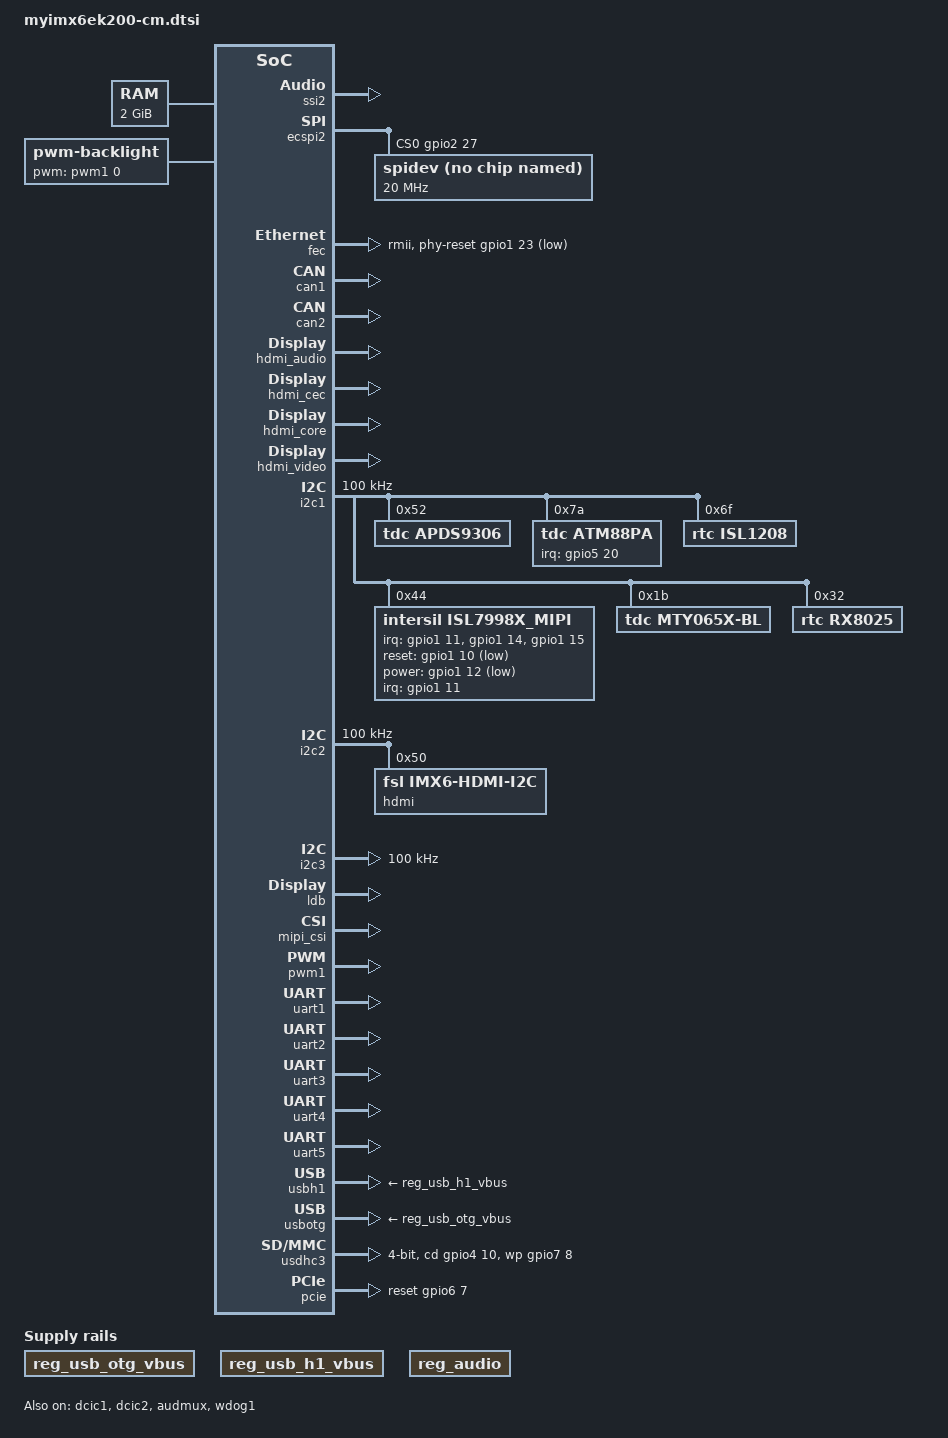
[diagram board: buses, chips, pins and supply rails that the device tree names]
/*
 * MYZR Technology Co.,Ltd
 * http://www.myzr.com.cn
 * Tang Bin <tangb@myzr.com.cn>
 */

#include "myimx6cb200.dtsi"
#include "myimx6ek200-iomux.dtsi"

/ {
	aliases {
		mxcfb0 = &mxcfb1;
		mxcfb1 = &mxcfb2;
		mxcfb2 = &mxcfb3;
		mxcfb3 = &mxcfb4;
	};

	memory: memory {
		reg = <0x10000000 0x80000000>;
	};
	
	regulators {
		compatible = "simple-bus";
		#address-cells = <1>;
		#size-cells = <0>;

		reg_usb_otg_vbus: regulator@0 {
			compatible = "regulator-fixed";
			reg = <0>;
			regulator-name = "usb_otg_vbus";
			enable-active-high;
		};

		reg_usb_h1_vbus: regulator@1 {
			compatible = "regulator-fixed";
			reg = <1>;
			regulator-name = "usb_h1_vbus";
			enable-active-high;
		};

		reg_audio: regulator@2 {
			compatible = "regulator-fixed";
			reg = <2>;
			regulator-name = "wm8962-supply";
			enable-active-high;
		};
	};
	
	sound-hdmi {
		compatible = "fsl,imx6q-audio-hdmi",
			     "fsl,imx-audio-hdmi";
		model = "imx-audio-hdmi";
		hdmi-controller = <&hdmi_audio>;
	};

	mxcfb1: fb@0 {
		compatible = "fsl,mxc_sdc_fb";
		disp_dev = "ldb";
		interface_pix_fmt = "RGB666";
		default_bpp = <16>;
		int_clk = <0>;
		late_init = <0>;
		status = "disabled";
	};

	mxcfb2: fb@1 {
		compatible = "fsl,mxc_sdc_fb";
		disp_dev = "hdmi";
		interface_pix_fmt = "RGB24";
		mode_str ="1920x1080M@60";
		default_bpp = <24>;
		int_clk = <0>;
		late_init = <0>;
		status = "disabled";
	};

	mxcfb3: fb@2 {
		compatible = "fsl,mxc_sdc_fb";
		disp_dev = "lcd";
		interface_pix_fmt = "RGB565";
		mode_str ="CLAA-WVGA";
		default_bpp = <16>;
		int_clk = <0>;
		late_init = <0>;
		status = "disabled";
	};

	mxcfb4: fb@3 {
		compatible = "fsl,mxc_sdc_fb";
		disp_dev = "ldb";
		interface_pix_fmt = "RGB666";
		default_bpp = <16>;
		int_clk = <0>;
		late_init = <0>;
		status = "disabled";
	};

	lcd@0 {
		compatible = "fsl,lcd";
		ipu_id = <0>;
		disp_id = <0>;
		default_ifmt = "RGB24";
		pinctrl-names = "default";
		pinctrl-0 = <&pinctrl_lcd_disp>;
		status = "okay";
	};

	backlight {
		compatible = "pwm-backlight";
		pwms = <&pwm1 0 5000000>;
		brightness-levels = <0 36 72 108 144 180 216 255>;
		default-brightness-level = <7>;
		status = "okay";
	};

	v4l2_cap_0 {
		compatible = "fsl,imx6q-v4l2-capture";
		ipu_id = <0>;
		csi_id = <0>;
		mclk_source = <0>;
		status = "okay";
	};

	v4l2_cap_1 {
		compatible = "fsl,imx6q-v4l2-capture";
		ipu_id = <0>;
		csi_id = <1>;
		mclk_source = <0>;
		status = "okay";
	};

	v4l2_cap_2 {
		compatible = "fsl,imx6q-v4l2-capture";
		ipu_id = <1>;
		csi_id = <0>;
		mclk_source = <0>;
		status = "okay";
	};

	v4l2_cap_3 {
		compatible = "fsl,imx6q-v4l2-capture";
		ipu_id = <1>;
		csi_id = <1>;
		mclk_source = <0>;
		status = "okay";
	};

	v4l2_out {
		compatible = "fsl,mxc_v4l2_output";
		status = "okay";
	};
};

&clks {
	fsl,ldb-di0-parent = <&clks 4>; /* IMX6QDL_CLK_PLL2_PFD0_352M */
	fsl,ldb-di1-parent = <&clks 4>; /* IMX6QDL_CLK_PLL2_PFD0_352M */
};

&iomuxc {
	pinctrl-names = "default";
	pinctrl-0 = <&pinctrl_eim0_pad &pinctrl_sd1_pad &pinctrl_sd3_pad &pinctrl_gpio_pad &pinctrl_nandf_mipi_csi &pinctrl_nandf_pcie>;
};

&dcic1 {
	dcic_id = <0>;
	dcic_mux = "dcic-hdmi";
	status = "okay";
};

&dcic2 {
	dcic_id = <1>;
	dcic_mux = "dcic-lvds0";
	status = "okay";
};

&gpc {
	fsl,ldo-bypass = <1>;
	fsl,wdog-reset = <1>;
};

&audmux {
	pinctrl-names = "default";
	pinctrl-0 = <&pinctrl_csi_aud3 &pinctrl_eim0_hp_det>;
	status = "okay";
};

&ssi2 {
	fsl,mode = "i2s-slave";
	status = "okay";
};

&ecspi2 {
	fsl,spi-num-chipselects = <1>;
	cs-gpios = <&gpio2 27 0>;
	pinctrl-names = "default";
	pinctrl-0 = <&pinctrl_eim1_spi2>;
	status = "okay";

	spidev@0 {
		compatible = "spidev";
		spi-max-frequency = <20000000>;
		reg = <0>;
	};
};

&fec {
	pinctrl-names = "default";
	pinctrl-0 = <&pinctrl_enet_enet &pinctrl_gpio_enet>;
	phy-mode = "rmii";
	phy-reset-gpios = <&gpio1 23 0>;
	fsl,magic-packet;
	status = "okay";
};

&can1 {
	pinctrl-names = "default";
	pinctrl-0 = <&pinctrl_gpio_can1>;
	status = "okay"; 
};

&can2 {
	pinctrl-names = "default";
	pinctrl-0 = <&pinctrl_gpio_can2>;
	status = "okay";
};

&hdmi_audio {
	status = "okay";
};

&hdmi_cec {
	pinctrl-names = "default";
	pinctrl-0 = <&pinctrl_gpio_hdmi>;
	status = "okay";
};

&hdmi_core {
	ipu_id = <0>;
	disp_id = <0>;
	status = "okay";
};

&hdmi_video {
	fsl,phy_reg_vlev = <0x0294>;
	fsl,phy_reg_cksymtx = <0x800d>;
	status = "okay";
};

&i2c1 {
	clock-frequency = <100000>;
	pinctrl-names = "default";
	pinctrl-0 = <&pinctrl_csi_i2c1>;
	status = "okay";

	apds9306@52 {
		compatible = "tdc,apds9306";
		reg = <0x52>;
	};

	atm88pa@7a {
		compatible = "tdc,atm88pa";
		reg = <0x7a>;
		interrupt-parent = <&gpio5>;
		interrupts = <20 0>;
		linux,wakeup;
		status = "okay";

		keypad {
			debounce_time = <1>;
			repeat = <1>;
			/* KEY_ENTER, KEY_ESC, KEY_UP, KEY_DOWN, KEY_F4, KEY_F5, KEY_F6, KEY_POWER */
			keymap = /bits/ 16 <28 1 103 108 62 63 64 116>;
		};

		leds {
			keypad-bl@0 {
				id = <0>;
				label = "keypad-bl";
				brightness = <0>;
				max-brightness = <100>;
			};
			camera-sl@1 {
				id = <1>;
				label = "camera-sl";
				brightness = <0>;
				max-brightness = <100>;
			};
			fault@2 {
				id = <2>;
				label = "fault";
				brightness = <0>;
				max-brightness = <1>;
			};
		};

		power {
			/* poweroff GPIO1_IO13, ACTIVE_LOW */
			gpios = <&gpio1 13 1>;
		};
	};

	isl1208@6f {
		compatible = "rtc,isl1208";
		reg = <0x6f>;
	};

	isl7998x_mipi@44 {
		compatible = "intersil,isl7998x_mipi";
		reg = <0x44>;
		pinctrl-names = "default";
		pinctrl-0 = <&pinctrl_gpio_isl7998x>;
		clocks = <&clks 201>;
		clock-names = "csi_mclk";
		csi_id = <0>;
		mclk = <27000000>;
		mclk_source = <0>;
		interrupt-parent = <&gpio1>;
		interrupts = <11 0>;
		/* GPIO Interrupts: INT, MPP1, MPP2 */
		irq-gpios = <&gpio1 11 0>, <&gpio1 14 0>, <&gpio1 15 0>;
		reset-gpios = <&gpio1 10 1>;
		power-gpios = <&gpio1 12 1>;
	};

	mty065x-bl@1b {
		compatible = "tdc,mty065x-bl";
		reg = <0x1b>;
		pingctrl-names = "default";
		/* Driver properties */
		display-size = /bits/ 16 <854 480 1280 720>;
		input-format = /bits/ 8 <0x41>;
		input-select = /bits/ 8 <0x00>;
		image-crop = /bits/ 16 <0 0 1280 720>;
	};

	rx8025@32 {
		compatible = "rtc,rx8025";
		reg = <0x32>;
		/* Default date time: 2016-8-1 0:0:0 */
		def-rtc-time = <0 0 0 1 7 116 1 0 0>;
	};
};

&i2c2 {
	clock-frequency = <100000>;
	pinctrl-names = "default";
	pinctrl-0 = <&pinctrl_gpio_i2c2>;
	status = "okay";

	hdmi: edid@50 {
		compatible = "fsl,imx6-hdmi-i2c";
		reg = <0x50>;
	};
};

&i2c3 {
	clock-frequency = <100000>;
	pinctrl-names = "default";
	pinctrl-0 = <&pinctrl_gpio_i2c3>;
	status = "okay";
};

&ldb {
	status = "okay";

	lvds-channel@0 {
		fsl,data-mapping = "spwg";
		fsl,data-width = <18>;
		primary;
		status = "okay";

		display-timings {
			native-mode = <&timing0>;
			timing0: hsd100pxn1 {
				clock-frequency = <64022400>;
				hactive = <1280>;
				vactive = <720>;
				hback-porch = <80>;
				hfront-porch = <48>;
				vback-porch = <13>;
				vfront-porch = <3>;
				hsync-len = <32>;
				vsync-len = <5>;
			};
		};
	};

	lvds-channel@1 {
		fsl,data-mapping = "spwg";
		fsl,data-width = <18>;
		status = "okay";

		display-timings {
			native-mode = <&timing1>;
			timing1: hsd100pxn1 {
				clock-frequency = <64022400>;
				hactive = <1280>;
				vactive = <720>;
				hback-porch = <80>;
				hfront-porch = <48>;
				vback-porch = <13>;
				vfront-porch = <3>;
				hsync-len = <32>;
				vsync-len = <5>;
			};
		};
	};
};

&mipi_csi {
	status = "okay";
	lanes = <2>;

	mipi-csi2-channel@0 {
		ipu_id = <0>;
		csi_id = <0>;
		v_channel = <0>;
		status = "okay";
	};

	mipi-csi2-channel@1 {
		ipu_id = <0>;
		csi_id = <1>;
		v_channel = <1>;
		status = "okay";
	};

	mipi-csi2-channel@2 {
		ipu_id = <1>;
		csi_id = <0>;
		v_channel = <2>;
		status = "okay";
	};

	mipi-csi2-channel@3 {
		ipu_id = <1>;
		csi_id = <1>;
		v_channel = <3>;
		status = "okay";
	};
};

&pwm1 {
	pinctrl-names = "default";
	pinctrl-0 = <&pinctrl_sd1_pwm1>;
	status = "okay";
};

&uart1 {
	pinctrl-names = "default";
	pinctrl-0 = <&pinctrl_csi_uart1>;
	status = "okay";
};

&uart2 {
	pinctrl-names = "default";
	pinctrl-0 = <&pinctrl_eim0_uart2>;
	status = "okay";
};

&uart3 {
	pinctrl-names = "default";
	pinctrl-0 = <&pinctrl_eim0_uart3>;
	status = "okay";
};

&uart4 {
	pinctrl-names = "default";
	pinctrl-0 = <&pinctrl_gpio_uart4>;
	status = "okay";
};

&uart5 {
	pinctrl-names = "default";
	pinctrl-0 = <&pinctrl_gpio_uart5>;
	status = "okay";
};

&usbh1 {
	vbus-supply = <&reg_usb_h1_vbus>;
	status = "okay";
};

&usbotg {
	vbus-supply = <&reg_usb_otg_vbus>;
	pinctrl-names = "default";
	pinctrl-0 = <&pinctrl_gpio_usbotg>;
	disable-over-current;
	srp-disable;
	hnp-disable;
	adp-disable;
	status = "okay";
};

&usdhc3 {
	pinctrl-names = "default";
	pinctrl-0 = <&pinctrl_sd3_sd3 &pinctrl_gpio_sd3>;
	bus-width = <4>;
	cd-gpios = <&gpio4 10 0>;
	wp-gpios = <&gpio7 8 0>;
	no-1-8-v;
	keep-power-in-suspend;
	enable-sdio-wakeup;
	status = "okay";
};

&pcie {
	power-on-gpio = <&gpio6 8 0>;
	reset-gpio = <&gpio6 7 0>;
	status = "okay";
};

&wdog1 {
	status = "okay";
};

&wdog2 {
	status = "disabled";
};

&caam_snvs {
	status = "disabled";
};

